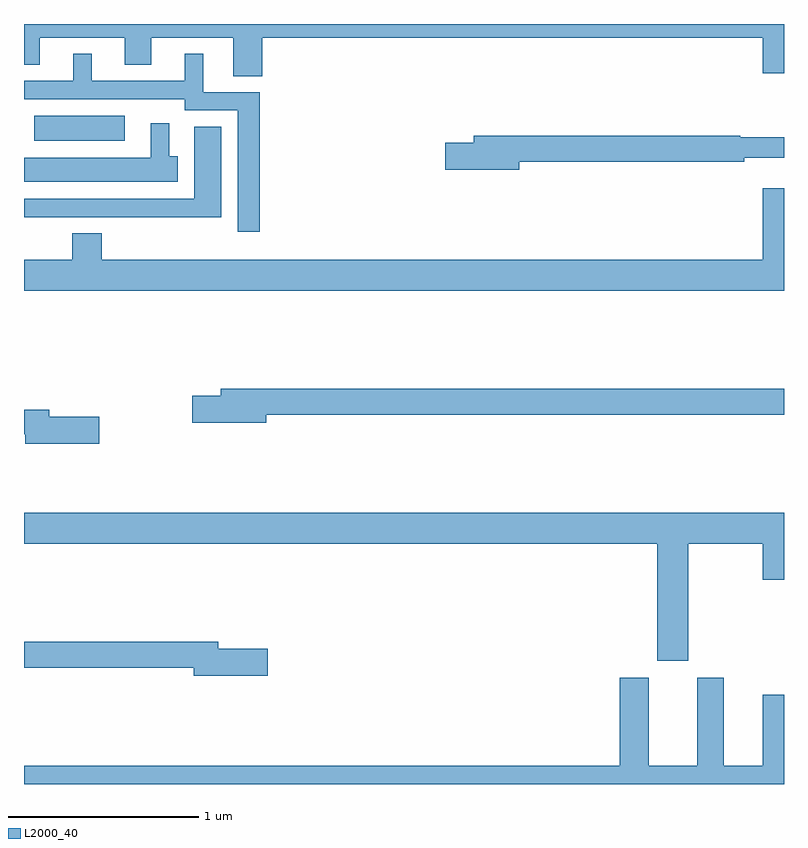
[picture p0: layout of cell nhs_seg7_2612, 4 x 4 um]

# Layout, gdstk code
import gdstk
lib = gdstk.Library(unit=1e-6, precision=1e-09)
def R(c, l, rs):  # rectangles x0, y0, x1, y1
    for r in rs: c.add(gdstk.rectangle(r[:2], r[2:], *l))
def P(c, l, *ps):  # polygons
    for p in ps: c.add(gdstk.Polygon(p, *l))
L2000_40 = (2000, 40)

nhs_seg7_2612 = lib.new_cell('nhs_seg7_2612')
R(nhs_seg7_2612, L2000_40, [(281.055,1021.385,281.53,1021.516)])
P(nhs_seg7_2612, L2000_40, [(282.254,1021.928),(284.888,1021.928),(284.888,1021.74),(285,1021.74),(285,1022),(281,1022),(281,1021.786),(281.083,1021.786),(281.083,1021.928),(281.531,1021.928),(281.531,1021.786),(281.671,1021.786),(281.671,1021.928),(282.101,1021.928),(282.101,1021.726),(282.254,1021.726)],
  [(282.242,1021.641),(281.944,1021.641),(281.944,1021.843),(281.846,1021.843),(281.846,1021.701),(281.356,1021.701),(281.356,1021.843),(281.258,1021.843),(281.258,1021.701),(281,1021.701),(281,1021.605),(281.847,1021.605),(281.847,1021.545),(282.126,1021.545),(282.126,1020.906),(282.242,1020.906)],
  [(281.809,1021.305),(281.764,1021.305),(281.764,1021.477),(281.666,1021.477),(281.666,1021.297),(281,1021.297),(281,1021.169),(281.809,1021.169)],
  [(282.037,1021.459),(281.897,1021.459),(281.897,1021.08),(281,1021.08),(281,1020.984),(281.491,1020.984),(281.491,1020.982),(282.037,1020.982)],
  [(283.606,1021.276),(284.792,1021.276),(284.792,1021.295),(285,1021.295),(285,1021.405),(284.771,1021.405),(284.771,1021.412),(283.367,1021.412),(283.367,1021.376),(283.218,1021.376),(283.218,1021.234),(283.606,1021.234)],
  [(285,1021.135),(284.888,1021.135),(284.888,1020.76),(281.408,1020.76),(281.408,1020.899),(281.255,1020.899),(281.255,1020.76),(281,1020.76),(281,1020.596),(285,1020.596)],
  [(282.274,1019.944),(285,1019.944),(285,1020.08),(282.035,1020.08),(282.035,1020.044),(281.886,1020.044),(281.886,1019.902),(282.274,1019.902)],
  [(281.395,1019.933),(281.134,1019.933),(281.134,1019.969),(281,1019.969),(281,1019.841),(281.006,1019.841),(281.006,1019.791),(281.395,1019.791)],
  [(284.497,1019.264),(284.888,1019.264),(284.888,1019.076),(285,1019.076),(285,1019.428),(281,1019.428),(281,1019.264),(284.333,1019.264),(284.333,1018.65),(284.497,1018.65)],
  [(282.283,1018.712),(282.022,1018.712),(282.022,1018.748),(281,1018.748),(281,1018.612),(281.894,1018.612),(281.894,1018.57),(282.283,1018.57)],
  [(285,1018.471),(284.888,1018.471),(284.888,1018.096),(284.683,1018.096),(284.683,1018.558),(284.543,1018.558),(284.543,1018.096),(284.287,1018.096),(284.287,1018.558),(284.135,1018.558),(284.135,1018.096),(281,1018.096),(281,1018),(285,1018)])

lib.write_gds('nhs_seg7_2612.gds')
